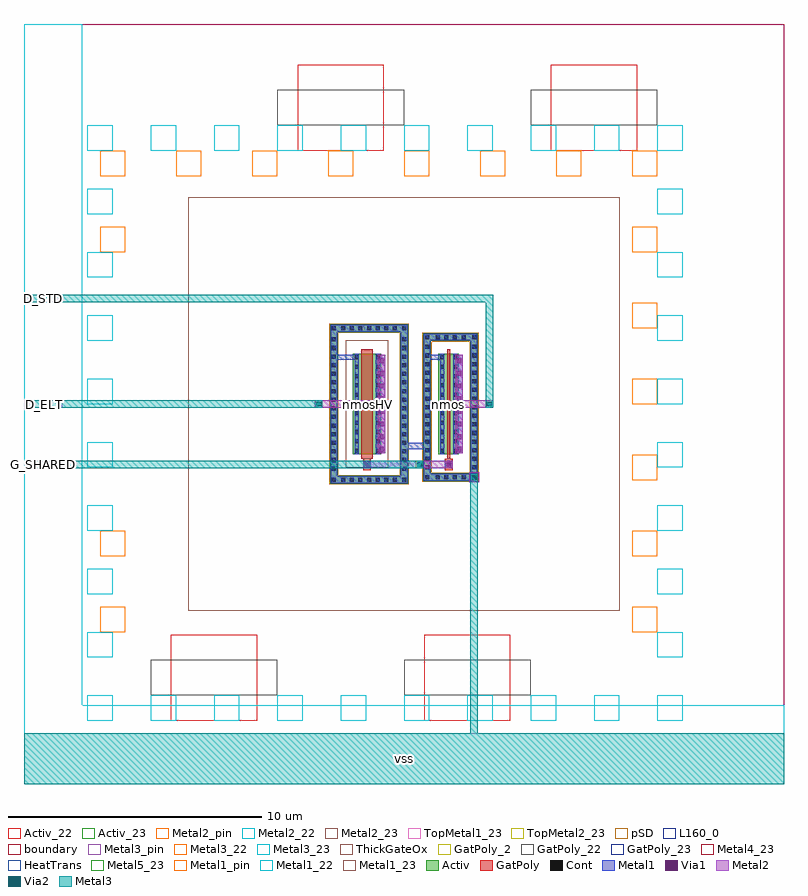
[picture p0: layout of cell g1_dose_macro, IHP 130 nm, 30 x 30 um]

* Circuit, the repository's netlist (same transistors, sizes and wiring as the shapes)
* Extracted by KLayout with SG13G2 LVS runset on : 19/09/2026 13:02

.SUBCKT g1_dose_macro D_ELT D_STD G_SHARED vss
M$1 vss G_SHARED D_STD vss sg13_lv_nmos L=0.13u W=3.98u AS=1.3532p AD=1.3532p
+ PS=8.64u PD=8.64u rfmode=0
M$2 vss G_SHARED D_ELT vss sg13_hv_nmos L=0.45u W=3.98u AS=1.3532p AD=1.3532p
+ PS=8.64u PD=8.64u rfmode=0
.ENDS g1_dose_macro

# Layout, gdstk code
import gdstk
lib = gdstk.Library(unit=1e-6, precision=1e-09)
def R(c, l, rs):  # rectangles x0, y0, x1, y1
    for r in rs: c.add(gdstk.rectangle(r[:2], r[2:], *l))
def A(c, l, x, y, w, h, nx, ny, dx, dy):  # array of equal rectangles
    R(c, l, [(x+i*dx, y+j*dy, x+i*dx+w, y+j*dy+h) for i in range(nx) for j in range(ny)])
def P(c, l, *ps):  # polygons
    for p in ps: c.add(gdstk.Polygon(p, *l))
Activ = (1, 0)
Activ_22 = (1, 22)
Activ_23 = (1, 23)
GatPoly = (5, 0)
GatPoly_2 = (5, 2)
GatPoly_22 = (5, 22)
GatPoly_23 = (5, 23)
Cont = (6, 0)
Metal1 = (8, 0)
Metal1_pin = (8, 2)
Metal1_22 = (8, 22)
Metal1_23 = (8, 23)
Metal2 = (10, 0)
Metal2_pin = (10, 2)
Metal2_22 = (10, 22)
Metal2_23 = (10, 23)
pSD = (14, 0)
Via1 = (19, 0)
Via2 = (29, 0)
Metal3 = (30, 0)
Metal3_pin = (30, 2)
Metal3_22 = (30, 22)
Metal3_23 = (30, 23)
ThickGateOx = (44, 0)
Metal4_23 = (50, 23)
HeatTrans = (51, 0)
Metal5_23 = (67, 23)
TopMetal1_23 = (126, 23)
TopMetal2_23 = (134, 23)
L160_0 = (160, 0)
boundary = (189, 4)

g1_dose_macro = lib.new_cell('g1_dose_macro')
R(g1_dose_macro, Activ, [(12.98,13.01,13.28,13.31), (12.98,13.01,14.11,16.99), (13.81,13.01,14.11,13.31), (16.36,13.01,16.66,13.31), (16.36,13.01,17.17,16.99), (16.87,13.01,17.17,13.31)])
P(g1_dose_macro, Activ, [(12.08,11.86),(12.08,17.84),(12.38,17.84),(12.38,12.16),(14.86,12.16),(14.86,17.84),(12.08,17.84),(12.08,18.14),(15.16,18.14),(15.16,11.86)],
  [(15.76,11.96),(15.76,17.49),(16.06,17.49),(16.06,12.26),(17.62,12.26),(17.62,17.49),(15.76,17.49),(15.76,17.79),(17.92,17.79),(17.92,11.96)])
R(g1_dose_macro, Activ_22, [(5.8,2.5,9.2,5.9), (15.8,2.5,19.2,5.9), (10.8,25,14.2,28.4), (20.8,25,24.2,28.4)])
R(g1_dose_macro, Activ_23, [(6.48,6.83,23.52,23.17)])
R(g1_dose_macro, GatPoly, [(13.395,12.39,13.695,12.83), (16.615,12.39,16.915,12.83), (13.32,12.83,13.77,17.17), (16.7,12.83,16.83,17.17)])
R(g1_dose_macro, GatPoly_2, [(13.32,12.83,13.77,17.17), (16.7,12.83,16.83,17.17)])
R(g1_dose_macro, GatPoly_22, [(5,3.5,10,4.9), (15,3.5,20,4.9), (10,26,15,27.4), (20,26,25,27.4)])
R(g1_dose_macro, GatPoly_23, [(6.48,6.83,23.52,23.17)])
A(g1_dose_macro, Cont, 12.52, 11.93, 0.16, 0.16, 7, 2, 0.34, 5.98)
A(g1_dose_macro, Cont, 16.25, 12.03, 0.16, 0.16, 4, 2, 0.34, 5.53)
A(g1_dose_macro, Cont, 12.15, 12.37, 0.16, 0.16, 1, 16, 0, 0.34)
A(g1_dose_macro, Cont, 14.93, 12.37, 0.16, 0.16, 1, 16, 0, 0.34)
A(g1_dose_macro, Cont, 15.83, 12.415, 0.16, 0.16, 1, 15, 0, 0.34)
A(g1_dose_macro, Cont, 17.69, 12.415, 0.16, 0.16, 1, 15, 0, 0.34)
A(g1_dose_macro, Cont, 13.05, 14.18, 0.16, 0.16, 1, 3, 0, 0.37)
A(g1_dose_macro, Cont, 13.88, 14.18, 0.16, 0.16, 1, 3, 0, 0.37)
A(g1_dose_macro, Cont, 16.43, 14.18, 0.16, 0.16, 1, 3, 0, 0.37)
A(g1_dose_macro, Cont, 16.94, 14.18, 0.16, 0.16, 1, 3, 0, 0.37)
A(g1_dose_macro, Cont, 13.05, 16.02, 0.16, 0.16, 1, 3, 0, 0.37)
A(g1_dose_macro, Cont, 13.88, 16.02, 0.16, 0.16, 1, 3, 0, 0.37)
A(g1_dose_macro, Cont, 16.43, 16.02, 0.16, 0.16, 1, 3, 0, 0.37)
A(g1_dose_macro, Cont, 16.94, 16.02, 0.16, 0.16, 1, 3, 0, 0.37)
R(g1_dose_macro, Cont, [(12.15,11.93,12.31,12.09), (14.93,11.93,15.09,12.09), (15.83,12.03,15.99,12.19), (17.69,12.03,17.85,12.19), (13.465,12.53,13.625,12.69), (16.685,12.53,16.845,12.69), (13.05,13.08,13.21,13.24), (13.88,13.08,14.04,13.24), (16.43,13.08,16.59,13.24), (16.94,13.08,17.1,13.24), (13.05,13.445,13.21,13.605), (13.88,13.445,14.04,13.605), (16.43,13.445,16.59,13.605), (16.94,13.445,17.1,13.605), (13.05,13.815,13.21,13.975), (13.88,13.815,14.04,13.975), (16.43,13.815,16.59,13.975), (16.94,13.815,17.1,13.975), (13.05,15.285,13.21,15.445), (13.88,15.285,14.04,15.445), (16.43,15.285,16.59,15.445), (16.94,15.285,17.1,15.445), (13.05,15.655,13.21,15.815), (13.88,15.655,14.04,15.815), (16.43,15.655,16.59,15.815), (16.94,15.655,17.1,15.815), (15.83,17.56,15.99,17.72), (17.69,17.56,17.85,17.72), (12.15,17.91,12.31,18.07), (14.93,17.91,15.09,18.07)])
R(g1_dose_macro, Metal1, [(17.62,11.96,17.92,12.26), (13.395,12.46,13.695,12.76), (16.615,12.46,16.915,12.76), (13.05,13.01,13.21,16.99), (13.88,13.01,14.04,16.99), (16.43,13.01,16.59,16.99), (16.94,13.01,17.1,16.99), (13.96,13.06,14.26,16.94), (17.02,13.06,17.32,16.94), (15.01,13.21,15.91,13.47), (12.23,16.74,13.21,16.94), (15.91,16.74,16.59,16.94)])
P(g1_dose_macro, Metal1, [(12.1,11.88),(12.1,17.86),(12.36,17.86),(12.36,12.14),(14.88,12.14),(14.88,17.86),(12.1,17.86),(12.1,18.12),(15.14,18.12),(15.14,11.88)],
  [(15.78,11.98),(15.78,17.51),(16.04,17.51),(16.04,12.24),(17.64,12.24),(17.64,17.51),(15.78,17.51),(15.78,17.77),(17.9,17.77),(17.9,11.98)])
R(g1_dose_macro, Metal1_pin, [(13.05,13.01,13.21,16.99), (13.88,13.01,14.04,16.99), (16.43,13.01,16.59,16.99), (16.94,13.01,17.1,16.99), (13.415,17.86,13.675,18.12)])
A(g1_dose_macro, Metal1_22, 2.5, 2.5, 1, 1, 10, 2, 2.5, 22.5)
A(g1_dose_macro, Metal1_22, 2.5, 5, 1, 1, 1, 8, 0, 2.5)
A(g1_dose_macro, Metal1_22, 25, 5, 1, 1, 1, 8, 0, 2.5)
R(g1_dose_macro, Metal1_23, [(6.48,6.83,23.52,23.17)])
R(g1_dose_macro, Metal2, [(17.57,11.91,17.97,12.31), (13.395,12.46,16.915,12.76), (13.96,13.06,14.26,16.94), (17.02,13.06,17.32,16.94), (11.48,14.85,14.26,15.15), (17.02,14.85,18.52,15.15)])
R(g1_dose_macro, Metal2_pin, [(15.46,12.46,15.76,12.76), (11.48,14.85,11.78,15.15), (18.22,14.85,18.52,15.15)])
A(g1_dose_macro, Metal2_22, 2.5, 2.5, 1, 1, 10, 2, 2.5, 22.5)
A(g1_dose_macro, Metal2_22, 2.5, 5, 1, 1, 1, 8, 0, 2.5)
A(g1_dose_macro, Metal2_22, 25, 5, 1, 1, 1, 8, 0, 2.5)
R(g1_dose_macro, Metal2_23, [(6.48,6.83,23.52,23.17)])
P(g1_dose_macro, pSD, [(12.05,11.83),(12.05,17.81),(12.41,17.81),(12.41,12.19),(14.83,12.19),(14.83,17.81),(12.05,17.81),(12.05,18.17),(15.19,18.17),(15.19,11.83)],
  [(15.73,11.93),(15.73,17.46),(16.09,17.46),(16.09,12.29),(17.59,12.29),(17.59,17.46),(15.73,17.46),(15.73,17.82),(17.95,17.82),(17.95,11.93)])
A(g1_dose_macro, Via1, 14.015, 13.115, 0.19, 0.19, 1, 8, 0, 0.5)
A(g1_dose_macro, Via1, 17.075, 13.115, 0.19, 0.19, 1, 8, 0, 0.5)
R(g1_dose_macro, Via1, [(17.675,12.015,17.865,12.205), (13.45,12.515,13.64,12.705), (16.67,12.515,16.86,12.705)])
R(g1_dose_macro, Via2, [(17.675,12.015,17.865,12.205), (15.515,12.515,15.705,12.705), (11.535,14.905,11.725,15.095), (18.275,14.905,18.465,15.095)])
R(g1_dose_macro, Metal3, [(0,0,30,2), (17.62,0.85,17.92,12.26), (17.62,11.96,17.92,12.26), (0,12.46,1.5,12.76), (0.6,12.46,15.76,12.76), (15.46,12.46,15.76,12.76), (0,14.85,1.5,15.15), (0.6,14.85,11.78,15.15), (11.48,14.85,11.78,15.15), (18.22,14.85,18.52,15.15), (18.22,14.85,18.52,19.32), (0,19.02,1.5,19.32), (0.6,19.02,18.52,19.32)])
R(g1_dose_macro, Metal3_pin, [(0,0,30,2), (0,12.46,1.5,12.76), (0,14.85,1.5,15.15), (0,19.02,1.5,19.32)])
A(g1_dose_macro, Metal3_22, 24, 6, 1, 1, 1, 6, 0, 3)
A(g1_dose_macro, Metal3_22, 3, 24, 1, 1, 8, 1, 3, 0)
R(g1_dose_macro, Metal3_22, [(3,6,4,7), (3,9,4,10), (3,21,4,22)])
R(g1_dose_macro, Metal3_23, [(0,0,2.3,30), (0,0,30,3.1), (6.48,6.83,23.52,23.17)])
R(g1_dose_macro, ThickGateOx, [(12.71,12.49,14.38,17.51)])
R(g1_dose_macro, Metal4_23, [(6.48,6.83,23.52,23.17)])
R(g1_dose_macro, HeatTrans, [(13.32,12.83,13.77,17.17), (16.7,12.83,16.83,17.17)])
R(g1_dose_macro, Metal5_23, [(6.48,6.83,23.52,23.17)])
R(g1_dose_macro, TopMetal1_23, [(6.48,6.83,23.52,23.17)])
R(g1_dose_macro, TopMetal2_23, [(6.48,6.83,23.52,23.17)])
R(g1_dose_macro, L160_0, [(6.48,6.83,23.52,23.17)])
R(g1_dose_macro, boundary, [(0,0,30,30)])
g1_dose_macro.add(gdstk.Label('nmosHV', (13.545,15), layer=63, texttype=0))
g1_dose_macro.add(gdstk.Label('nmos', (16.765,15), layer=63, texttype=0))
g1_dose_macro.add(gdstk.Label('nmosHV', (13.545,15), layer=51, texttype=0))
g1_dose_macro.add(gdstk.Label('nmos', (16.765,15), layer=51, texttype=0))
g1_dose_macro.add(gdstk.Label('D_ELT', (0.75,15), layer=30, texttype=25))
g1_dose_macro.add(gdstk.Label('G_SHARED', (0.75,12.61), layer=30, texttype=25))
g1_dose_macro.add(gdstk.Label('D_STD', (0.75,19.17), layer=30, texttype=25))
g1_dose_macro.add(gdstk.Label('vss', (15,1), layer=30, texttype=25))

lib.write_gds('g1_dose_macro.gds')
